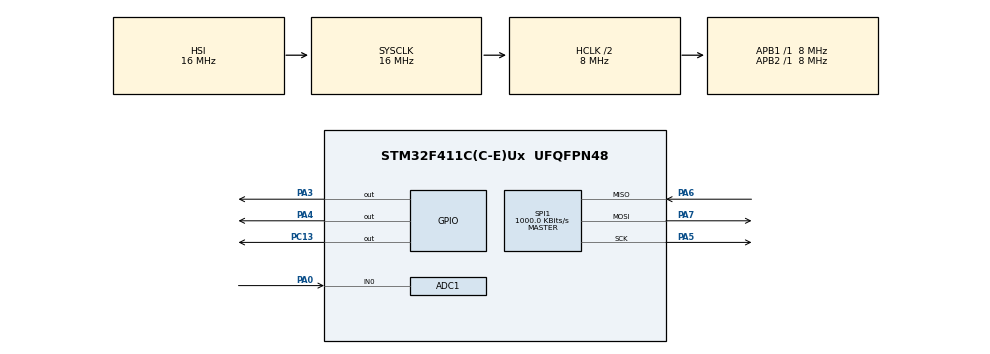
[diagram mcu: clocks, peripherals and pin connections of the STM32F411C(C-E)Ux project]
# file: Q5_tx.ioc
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ADC1.Channel-0\#ChannelRegularConversion=ADC_CHANNEL_0
ADC1.NbrOfConversionFlag=1
ADC1.Rank-0\#ChannelRegularConversion=1
ADC1.Resolution=ADC_RESOLUTION_8B
ADC1.SamplingTime-0\#ChannelRegularConversion=ADC_SAMPLETIME_3CYCLES
ADC1.master=1
Mcu.Family=STM32F4
Mcu.Name=STM32F411C(C-E)Ux
Mcu.Package=UFQFPN48
NVIC.PriorityGroup=NVIC_PRIORITYGROUP_4
PA0-WKUP.Signal=ADCx_IN0
PA13.Mode=Serial_Wire
PA13.Signal=SYS_JTMS-SWDIO
PA14.Mode=Serial_Wire
PA14.Signal=SYS_JTCK-SWCLK
PA3.Signal=GPIO_Output
PA4.Signal=GPIO_Output
PA5.Mode=Full_Duplex_Master
PA5.Signal=SPI1_SCK
PA6.Mode=Full_Duplex_Master
PA6.Signal=SPI1_MISO
PA7.Mode=Full_Duplex_Master
PA7.Signal=SPI1_MOSI
PC13-ANTI_TAMP.Signal=GPIO_Output
ProjectManager.HeapSize=0x200
ProjectManager.StackSize=0x400
ProjectManager.TargetToolchain=STM32CubeIDE
RCC.AHBCLKDivider=RCC_SYSCLK_DIV2
RCC.AHBFreq_Value=8000000
RCC.APB1Freq_Value=8000000
RCC.APB1TimFreq_Value=8000000
RCC.APB2Freq_Value=8000000
RCC.APB2TimFreq_Value=8000000
RCC.CortexFreq_Value=8000000
RCC.HCLKFreq_Value=8000000
RCC.HSE_VALUE=25000000
RCC.HSI_VALUE=16000000
RCC.LSE_VALUE=32768
RCC.SYSCLKFreq_VALUE=16000000
RCC.VCOOutputFreq_Value=192000000
SH.ADCx_IN0.0=ADC1_IN0,IN0
SPI1.BaudRatePrescaler=SPI_BAUDRATEPRESCALER_8
SPI1.CLKPhase=SPI_PHASE_2EDGE
SPI1.CalculateBaudRate=1000.0 KBits/s
SPI1.Direction=SPI_DIRECTION_2LINES
SPI1.Mode=SPI_MODE_MASTER
SPI1.VirtualType=VM_MASTER
board=custom

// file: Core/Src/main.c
/* USER CODE BEGIN Header */
/**
  ******************************************************************************
  * @file           : main.c
  * @brief          : Main program body
  ******************************************************************************
  * @attention
  *
  * Copyright (c) 2026 STMicroelectronics.
  * All rights reserved.
  *
  * This software is licensed under terms that can be found in the LICENSE file
  * in the root directory of this software component.
  * If no LICENSE file comes with this software, it is provided AS-IS.
  *
  ******************************************************************************
  */
/* USER CODE END Header */
#include "main.h"

/* USER CODE BEGIN Includes */
#include <string.h>
#include "NRF24_conf.h"
#include "NRF24.h"
#include "NRF24_reg_addresses.h"
#include <stdint.h>
/* USER CODE END Includes */

/* USER CODE BEGIN PTD */
typedef uint8_t  u8;
/* USER CODE END PTD */

ADC_HandleTypeDef hadc1;
SPI_HandleTypeDef hspi1;

/* USER CODE BEGIN PV */
u8 u8AdcValue ;
u8 tx_addr[5] = {1, 2, 3, 4, 5};
/* USER CODE END PV */

void SystemClock_Config(void);
static void MX_GPIO_Init(void);
static void MX_ADC1_Init(void);
static void MX_SPI1_Init(void);

int main(void)
{

  /* MCU Configuration--------------------------------------------------------*/

  /* Reset of all peripherals, Initializes the Flash interface and the Systick. */

	HAL_Init();

  /* Configure the system clock */
  SystemClock_Config();

  /* Initialize all configured peripherals */
  MX_GPIO_Init();
  MX_SPI1_Init();
  MX_ADC1_Init();
  /* USER CODE BEGIN 2 */

  /* NRF Init based on documents and examples */
  csn_high();
  ce_high();
  HAL_Delay(5);
  ce_low();

  nrf24_init();
  nrf24_stop_listen();
  nrf24_auto_ack_all(auto_ack);
  nrf24_en_ack_pld(disable);
  nrf24_dpl(disable);
  nrf24_set_crc(1, _1byte);
  nrf24_tx_pwr(_0dbm);
  nrf24_data_rate(_2mbps);
  nrf24_set_channel(90);
  nrf24_set_addr_width(5);

  nrf24_set_rx_dpl(0, disable);
  nrf24_set_rx_dpl(1, disable);
  nrf24_set_rx_dpl(2, disable);
  nrf24_set_rx_dpl(3, disable);
  nrf24_set_rx_dpl(4, disable);
  nrf24_set_rx_dpl(5, disable);

  nrf24_pipe_pld_size(0, 1);

  nrf24_auto_retr_delay(4);
  nrf24_auto_retr_limit(10);

  nrf24_open_tx_pipe(tx_addr);
  nrf24_open_rx_pipe(0, tx_addr);

  ce_high();

  /* USER CODE END 2 */

  /* Infinite loop */
  /* USER CODE BEGIN WHILE */
   while(1)
   {
       /* first read the ADC */
       HAL_ADC_Start(&hadc1);
       HAL_ADC_PollForConversion(&hadc1, 100);
       u8AdcValue = HAL_ADC_GetValue(&hadc1);

       /* transmit */
       u8 u8Result = nrf24_transmit(&u8AdcValue, 1);

       if(u8Result == 1)
       {
          /* led toggle = success */
          HAL_GPIO_TogglePin(GPIOC, GPIO_PIN_13);
          HAL_Delay(20);
       }
       else
       {
         /* led off = failure */
          HAL_GPIO_WritePin(GPIOC, GPIO_PIN_13, GPIO_PIN_SET);
       }

       /* Loop delay */
       HAL_Delay(50);
   }
}

void SystemClock_Config(void)
{
  RCC_OscInitTypeDef RCC_OscInitStruct = {0};
  RCC_ClkInitTypeDef RCC_ClkInitStruct = {0};

  /** Configure the main internal regulator output voltage
  */
  __HAL_RCC_PWR_CLK_ENABLE();
  __HAL_PWR_VOLTAGESCALING_CONFIG(PWR_REGULATOR_VOLTAGE_SCALE1);

  /** Initializes the RCC Oscillators according to the specified parameters
  * in the RCC_OscInitTypeDef structure.
  */
  RCC_OscInitStruct.OscillatorType = RCC_OSCILLATORTYPE_HSI;
  RCC_OscInitStruct.HSIState = RCC_HSI_ON;
  RCC_OscInitStruct.HSICalibrationValue = RCC_HSICALIBRATION_DEFAULT;
  RCC_OscInitStruct.PLL.PLLState = RCC_PLL_NONE;
  if (HAL_RCC_OscConfig(&RCC_OscInitStruct) != HAL_OK)
  {
    Error_Handler();
  }

  /** Initializes the CPU, AHB and APB buses clocks
  */
  RCC_ClkInitStruct.ClockType = RCC_CLOCKTYPE_HCLK|RCC_CLOCKTYPE_SYSCLK
                              |RCC_CLOCKTYPE_PCLK1|RCC_CLOCKTYPE_PCLK2;
  RCC_ClkInitStruct.SYSCLKSource = RCC_SYSCLKSOURCE_HSI;
  RCC_ClkInitStruct.AHBCLKDivider = RCC_SYSCLK_DIV2;
  RCC_ClkInitStruct.APB1CLKDivider = RCC_HCLK_DIV1;
  RCC_ClkInitStruct.APB2CLKDivider = RCC_HCLK_DIV1;

  if (HAL_RCC_ClockConfig(&RCC_ClkInitStruct, FLASH_LATENCY_0) != HAL_OK)
  {
    Error_Handler();
  }
}

static void MX_ADC1_Init(void)
{

  ADC_ChannelConfTypeDef sConfig = {0};

  /** Configure the global features of the ADC (Clock, Resolution, Data Alignment and number of conversion)
  */
  hadc1.Instance = ADC1;
  hadc1.Init.ClockPrescaler = ADC_CLOCK_SYNC_PCLK_DIV2;
  hadc1.Init.Resolution = ADC_RESOLUTION_8B;
  hadc1.Init.ScanConvMode = DISABLE;
  hadc1.Init.ContinuousConvMode = DISABLE;
  hadc1.Init.DiscontinuousConvMode = DISABLE;
  hadc1.Init.ExternalTrigConvEdge = ADC_EXTERNALTRIGCONVEDGE_NONE;
  hadc1.Init.ExternalTrigConv = ADC_SOFTWARE_START;
  hadc1.Init.DataAlign = ADC_DATAALIGN_RIGHT;
  hadc1.Init.NbrOfConversion = 1;
  hadc1.Init.DMAContinuousRequests = DISABLE;
  hadc1.Init.EOCSelection = ADC_EOC_SINGLE_CONV;
  if (HAL_ADC_Init(&hadc1) != HAL_OK)
  {
    Error_Handler();
  }

  /** Configure for the selected ADC regular channel its corresponding rank in the sequencer and its sample time.
  */
  sConfig.Channel = ADC_CHANNEL_0;
  sConfig.Rank = 1;
  sConfig.SamplingTime = ADC_SAMPLETIME_3CYCLES;
  if (HAL_ADC_ConfigChannel(&hadc1, &sConfig) != HAL_OK)
  {
    Error_Handler();
  }

}

static void MX_SPI1_Init(void)
{

  /* SPI1 parameter configuration*/
  hspi1.Instance = SPI1;
  hspi1.Init.Mode = SPI_MODE_MASTER;
  hspi1.Init.Direction = SPI_DIRECTION_2LINES;
  hspi1.Init.DataSize = SPI_DATASIZE_8BIT;
  hspi1.Init.CLKPolarity = SPI_POLARITY_LOW;
  hspi1.Init.CLKPhase = SPI_PHASE_1EDGE;
  hspi1.Init.NSS = SPI_NSS_SOFT;
  hspi1.Init.BaudRatePrescaler = SPI_BAUDRATEPRESCALER_8;
  hspi1.Init.FirstBit = SPI_FIRSTBIT_MSB;
  hspi1.Init.TIMode = SPI_TIMODE_DISABLE;
  hspi1.Init.CRCCalculation = SPI_CRCCALCULATION_DISABLE;
  hspi1.Init.CRCPolynomial = 10;
  if (HAL_SPI_Init(&hspi1) != HAL_OK)
  {
    Error_Handler();
  }

}

static void MX_GPIO_Init(void)
{
  GPIO_InitTypeDef GPIO_InitStruct = {0};

  /* GPIO Ports Clock Enable */
  __HAL_RCC_GPIOC_CLK_ENABLE();
  __HAL_RCC_GPIOA_CLK_ENABLE();

  /*Configure GPIO pin Output Level */
  HAL_GPIO_WritePin(GPIOC, GPIO_PIN_13, GPIO_PIN_RESET);

  /*Configure GPIO pin Output Level */
  HAL_GPIO_WritePin(GPIOA, GPIO_PIN_3, GPIO_PIN_SET);
  HAL_GPIO_WritePin(GPIOA, GPIO_PIN_4, GPIO_PIN_RESET);

  /*Configure GPIO pin : PC13 */
  GPIO_InitStruct.Pin = GPIO_PIN_13;
  GPIO_InitStruct.Mode = GPIO_MODE_OUTPUT_PP;
  GPIO_InitStruct.Pull = GPIO_NOPULL;
  GPIO_InitStruct.Speed = GPIO_SPEED_FREQ_LOW;
  HAL_GPIO_Init(GPIOC, &GPIO_InitStruct);

  /*Configure GPIO pins : PA3 PA4 */
  GPIO_InitStruct.Pin = GPIO_PIN_3|GPIO_PIN_4;
  GPIO_InitStruct.Mode = GPIO_MODE_OUTPUT_PP;
  GPIO_InitStruct.Pull = GPIO_NOPULL;
  GPIO_InitStruct.Speed = GPIO_SPEED_FREQ_LOW;
  HAL_GPIO_Init(GPIOA, &GPIO_InitStruct);

}

void Error_Handler(void)
{
  __disable_irq();
  while (1)
  {
  }
}
